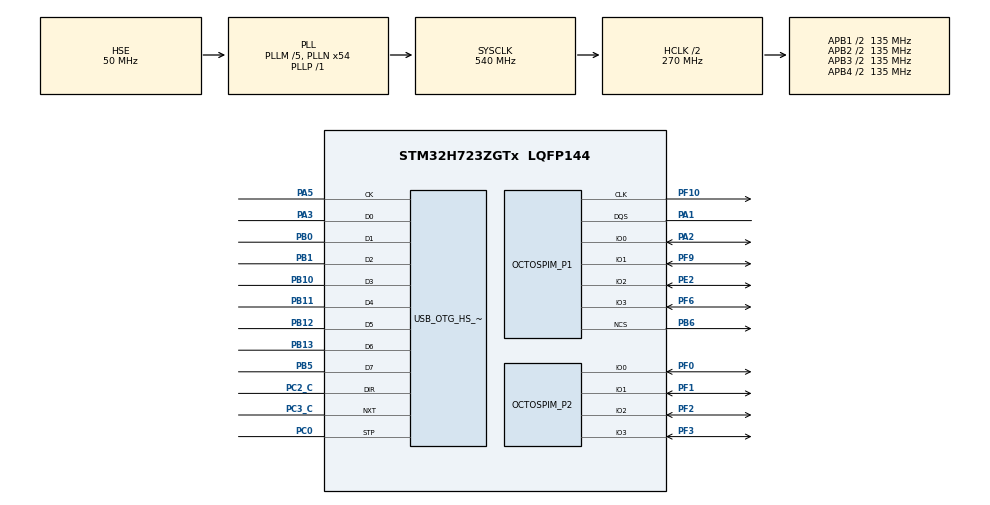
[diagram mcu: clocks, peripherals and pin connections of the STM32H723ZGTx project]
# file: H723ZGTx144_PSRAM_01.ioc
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CORTEX_M7.AccessPermission_S-Cortex_Memory_Protection_Unit_Region1_Settings_S=MPU_REGION_FULL_ACCESS
CORTEX_M7.AccessPermission_S-Cortex_Memory_Protection_Unit_Region2_Settings_S=MPU_REGION_FULL_ACCESS
CORTEX_M7.AccessPermission_S-Cortex_Memory_Protection_Unit_Region3_Settings_S=MPU_REGION_FULL_ACCESS
CORTEX_M7.AccessPermission_S-Cortex_Memory_Protection_Unit_Region4_Settings_S=MPU_REGION_FULL_ACCESS
CORTEX_M7.AccessPermission_S-Cortex_Memory_Protection_Unit_Region5_Settings_S=MPU_REGION_FULL_ACCESS
CORTEX_M7.AccessPermission_Spec=MPU_REGION_FULL_ACCESS
CORTEX_M7.BaseAddress_S-Cortex_Memory_Protection_Unit_Region1_Settings_S=0x6000000
CORTEX_M7.BaseAddress_S-Cortex_Memory_Protection_Unit_Region2_Settings_S=0x30000000
CORTEX_M7.BaseAddress_S-Cortex_Memory_Protection_Unit_Region3_Settings_S=0x30004000
CORTEX_M7.BaseAddress_S-Cortex_Memory_Protection_Unit_Region4_Settings_S=0x90000000
CORTEX_M7.BaseAddress_S-Cortex_Memory_Protection_Unit_Region5_Settings_S=0x30000000
CORTEX_M7.BaseAddress_Spec=0x24000000
CORTEX_M7.CPU_DCache=Enabled
CORTEX_M7.CPU_ICache=Enabled
CORTEX_M7.DisableExec_Spec=MPU_INSTRUCTION_ACCESS_ENABLE
CORTEX_M7.Enable_S-Cortex_Memory_Protection_Unit_Region1_Settings_S=MPU_REGION_ENABLE
CORTEX_M7.Enable_S-Cortex_Memory_Protection_Unit_Region2_Settings_S=MPU_REGION_ENABLE
CORTEX_M7.Enable_S-Cortex_Memory_Protection_Unit_Region3_Settings_S=MPU_REGION_ENABLE
CORTEX_M7.Enable_S-Cortex_Memory_Protection_Unit_Region4_Settings_S=MPU_REGION_ENABLE
CORTEX_M7.Enable_S-Cortex_Memory_Protection_Unit_Region5_Settings_S=MPU_REGION_ENABLE
CORTEX_M7.IsBufferable_S-Cortex_Memory_Protection_Unit_Region1_Settings_S=MPU_ACCESS_BUFFERABLE
CORTEX_M7.IsBufferable_S-Cortex_Memory_Protection_Unit_Region2_Settings_S=MPU_ACCESS_NOT_BUFFERABLE
CORTEX_M7.IsBufferable_S-Cortex_Memory_Protection_Unit_Region4_Settings_S=MPU_ACCESS_BUFFERABLE
CORTEX_M7.IsBufferable_S-Cortex_Memory_Protection_Unit_Region5_Settings_S=MPU_ACCESS_NOT_BUFFERABLE
CORTEX_M7.IsBufferable_Spec=MPU_ACCESS_BUFFERABLE
CORTEX_M7.IsCacheable_S-Cortex_Memory_Protection_Unit_Region2_Settings_S=MPU_ACCESS_CACHEABLE
CORTEX_M7.IsCacheable_S-Cortex_Memory_Protection_Unit_Region3_Settings_S=MPU_ACCESS_CACHEABLE
CORTEX_M7.IsCacheable_S-Cortex_Memory_Protection_Unit_Region4_Settings_S=MPU_ACCESS_CACHEABLE
CORTEX_M7.IsCacheable_S-Cortex_Memory_Protection_Unit_Region5_Settings_S=MPU_ACCESS_NOT_CACHEABLE
CORTEX_M7.IsCacheable_Spec=MPU_ACCESS_NOT_CACHEABLE
CORTEX_M7.IsShareable_Spec=MPU_ACCESS_NOT_SHAREABLE
CORTEX_M7.Size_S-Cortex_Memory_Protection_Unit_Region1_Settings_S=MPU_REGION_SIZE_64KB
CORTEX_M7.Size_S-Cortex_Memory_Protection_Unit_Region2_Settings_S=MPU_REGION_SIZE_16KB
CORTEX_M7.Size_S-Cortex_Memory_Protection_Unit_Region3_Settings_S=MPU_REGION_SIZE_16KB
CORTEX_M7.Size_S-Cortex_Memory_Protection_Unit_Region4_Settings_S=MPU_REGION_SIZE_64MB
CORTEX_M7.Size_S-Cortex_Memory_Protection_Unit_Region5_Settings_S=MPU_REGION_SIZE_4KB
CORTEX_M7.Size_Spec=MPU_REGION_SIZE_512KB
CORTEX_M7.SubRegionDisable_S-Cortex_Memory_Protection_Unit_Region2_Settings_S=0x0
CORTEX_M7.SubRegionDisable_Spec=0
CORTEX_M7.TypeExtField_S-Cortex_Memory_Protection_Unit_Region4_Settings_S=MPU_TEX_LEVEL1
CORTEX_M7.TypeExtField_S-Cortex_Memory_Protection_Unit_Region5_Settings_S=MPU_TEX_LEVEL0
CORTEX_M7.TypeExtField_Spec=MPU_TEX_LEVEL1
CORTEX_M7.default_mode_Activation=1
FREERTOS.Tasks01=defaultTask,24,512,StartDefaultTask,Default,NULL,Dynamic,NULL,NULL
FREERTOS.configGENERATE_RUN_TIME_STATS=1
FREERTOS.configMAX_TASK_NAME_LEN=32
FREERTOS.configTOTAL_HEAP_SIZE=32768
FREERTOS.configUSE_NEWLIB_REENTRANT=1
FREERTOS.configUSE_STATS_FORMATTING_FUNCTIONS=1
FREERTOS.copyHeapFile=0
Mcu.Family=STM32H7
Mcu.Name=STM32H723ZGTx
Mcu.Package=LQFP144
NVIC.OTG_HS_IRQn=true\:5\:0\:true\:false\:true\:true\:true\:true\:true
NVIC.PriorityGroup=NVIC_PRIORITYGROUP_4
NVIC.TIM4_IRQn=true\:15\:0\:true\:false\:true\:false\:false\:true\:true
NVIC.TimeBase=TIM4_IRQn
NVIC.TimeBaseIP=TIM4
OCTOSPI1.ChipSelectBoundary=11
OCTOSPI1.ChipSelectHighTime=2
OCTOSPI1.DelayBlockBypass=HAL_OSPI_DELAY_BLOCK_USED
OCTOSPI1.DelayHoldQuarterCycle=HAL_OSPI_DHQC_ENABLE
OCTOSPI1.DeviceSize=26
OCTOSPI1.MemoryType=HAL_OSPI_MEMTYPE_APMEMORY
OCTOSPI1.Refresh=201
PA1.Mode=OCTOSPI1_Port1_DQS
PA1.Signal=OCTOSPIM_P1_DQS
PA13(JTMS/SWDIO).Mode=Serial_Wire
PA13(JTMS/SWDIO).Signal=DEBUG_JTMS-SWDIO
PA14(JTCK/SWCLK).Mode=Serial_Wire
PA14(JTCK/SWCLK).Signal=DEBUG_JTCK-SWCLK
PA2.Mode=OCTOSPI1_IOL_Port1L
PA2.Signal=OCTOSPIM_P1_IO0
PA3.Mode=Device_HS
PA3.Signal=USB_OTG_HS_ULPI_D0
PA5.Mode=Device_HS
PA5.Signal=USB_OTG_HS_ULPI_CK
PB0.Mode=Device_HS
PB0.Signal=USB_OTG_HS_ULPI_D1
PB1.Mode=Device_HS
PB1.Signal=USB_OTG_HS_ULPI_D2
PB10.Mode=Device_HS
PB10.Signal=USB_OTG_HS_ULPI_D3
PB11.Mode=Device_HS
PB11.Signal=USB_OTG_HS_ULPI_D4
PB12.Mode=Device_HS
PB12.Signal=USB_OTG_HS_ULPI_D5
PB13.Mode=Device_HS
PB13.Signal=USB_OTG_HS_ULPI_D6
PB5.Mode=Device_HS
PB5.Signal=USB_OTG_HS_ULPI_D7
PB6.Mode=OCTOSPI1_Port1_NCS
PB6.Signal=OCTOSPIM_P1_NCS
PC0.Mode=Device_HS
PC0.Signal=USB_OTG_HS_ULPI_STP
PC2_C.Mode=Device_HS
PC2_C.Signal=USB_OTG_HS_ULPI_DIR
PC3_C.Mode=Device_HS
PC3_C.Signal=USB_OTG_HS_ULPI_NXT
PE2.Mode=OCTOSPI1_IOL_Port1L
PE2.Signal=OCTOSPIM_P1_IO2
PF0.Mode=OCTOSPI1_IOH_Port2L
PF0.Signal=OCTOSPIM_P2_IO0
PF1.Mode=OCTOSPI1_IOH_Port2L
PF1.Signal=OCTOSPIM_P2_IO1
PF10.Mode=O1_P1_CLK
PF10.Signal=OCTOSPIM_P1_CLK
PF2.Mode=OCTOSPI1_IOH_Port2L
PF2.Signal=OCTOSPIM_P2_IO2
PF3.Mode=OCTOSPI1_IOH_Port2L
PF3.Signal=OCTOSPIM_P2_IO3
PF6.Mode=OCTOSPI1_IOL_Port1L
PF6.Signal=OCTOSPIM_P1_IO3
PF9.Mode=OCTOSPI1_IOL_Port1L
PF9.Signal=OCTOSPIM_P1_IO1
PH0-OSC_IN.Mode=HSE-External-Clock-Source
PH0-OSC_IN.Signal=RCC_OSC_IN
ProjectManager.HeapSize=0x1000
ProjectManager.StackSize=0x2000
ProjectManager.TargetToolchain=STM32CubeIDE
RCC.ADCFreq_Value=200000000
RCC.APB1Freq_Value=135000000
RCC.APB2Freq_Value=135000000
RCC.APB3Freq_Value=135000000
RCC.APB4Freq_Value=135000000
RCC.CortexFreq_Value=540000000
RCC.D1PPRE=RCC_APB3_DIV2
RCC.D2PPRE1=RCC_APB1_DIV2
RCC.D2PPRE2=RCC_APB2_DIV2
RCC.D3PPRE=RCC_APB4_DIV2
RCC.DIVM1=5
RCC.DIVM2=5
RCC.DIVM3=25
RCC.DIVN1=54
RCC.DIVN2=40
RCC.DIVN3=96
RCC.DIVP1=1
RCC.DIVQ1=6
RCC.DIVQ3=4
RCC.HCLKFreq_Value=270000000
RCC.HPRE=RCC_HCLK_DIV2
RCC.HSE_VALUE=50000000
RCC.PLLSourceVirtual=RCC_PLLSOURCE_HSE
RCC.QSPICLockSelection=RCC_OSPICLKSOURCE_PLL2
RCC.RCC_TIM_PRescaler_Selection=RCC_TIMPRES_DESACTIVATED
RCC.SYSCLKFreq_VALUE=540000000
RCC.SYSCLKSource=RCC_SYSCLKSOURCE_PLLCLK
RCC.USBCLockSelection=RCC_USBCLKSOURCE_PLL3
RCC.USBFreq_Value=48000000
TIM7.AutoReloadPreload=TIM_AUTORELOAD_PRELOAD_ENABLE
TIM7.Period=50000-1
TIM7.Prescaler=135-1
USB_DEVICE.CLASS_NAME_HS=CDC
USB_DEVICE.VirtualMode=Cdc
USB_DEVICE.VirtualModeHS=Cdc_HS
USB_OTG_HS.VirtualMode-Device_HS=Device_HS
USB_OTG_HS.dma_enable-Device_HS=ENABLE
VP_FREERTOS_VS_CMSIS_V2.Mode=CMSIS_V2
VP_MEMORYMAP_VS_MEMORYMAP.Mode=CurAppReg
VP_OCTOSPI1_VS_octo.Mode=octo_mode
VP_SYS_VS_tim4.Mode=TIM4
VP_TIM3_VS_ClockSourceINT.Mode=Internal
VP_TIM7_VS_ClockSourceINT.Mode=Enable_Timer
VP_USB_DEVICE_VS_USB_DEVICE_CDC_HS.Mode=CDC_HS
board=custom

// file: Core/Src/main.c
/* USER CODE BEGIN Header */
/**
  ******************************************************************************
  * @file           : main.c
  * @brief          : Main program body
  ******************************************************************************
  * @attention
  *
  * Copyright (c) 2025 STMicroelectronics.
  * All rights reserved.
  *
  * This software is licensed under terms that can be found in the LICENSE file
  * in the root directory of this software component.
  * If no LICENSE file comes with this software, it is provided AS-IS.
  *
  ******************************************************************************
  */
/* USER CODE END Header */
#include "main.h"
#include "cmsis_os.h"
#include "octospi.h"
#include "tim.h"
#include "usb_device.h"
#include "gpio.h"

/* USER CODE BEGIN Includes */
#include "usbd_cdc_if.h"
/* USER CODE END Includes */

void SystemClock_Config(void);
static void MPU_Config(void);
void MX_FREERTOS_Init(void);

int main(void)
{

  /* MPU Configuration--------------------------------------------------------*/
  MPU_Config();

  /* Enable the CPU Cache */

  /* Enable I-Cache---------------------------------------------------------*/
  SCB_EnableICache();

  /* Enable D-Cache---------------------------------------------------------*/
  SCB_EnableDCache();

  /* MCU Configuration--------------------------------------------------------*/

  /* Reset of all peripherals, Initializes the Flash interface and the Systick. */
  HAL_Init();

  /* Configure the system clock */
  SystemClock_Config();

  /* Initialize all configured peripherals */
  MX_GPIO_Init();
  MX_TIM3_Init();
  MX_TIM7_Init();
  MX_OCTOSPI1_Init();

  /* Init scheduler */
  osKernelInitialize();  /* Call init function for freertos objects (in cmsis_os2.c) */
  MX_FREERTOS_Init();

  /* Start scheduler */
  osKernelStart();

  /* We should never get here as control is now taken by the scheduler */

  /* Infinite loop */
  while (1)
  {

  }
}

void SystemClock_Config(void)
{
  RCC_OscInitTypeDef RCC_OscInitStruct = {0};
  RCC_ClkInitTypeDef RCC_ClkInitStruct = {0};

  /** Supply configuration update enable
  */
  HAL_PWREx_ConfigSupply(PWR_LDO_SUPPLY);

  /** Configure the main internal regulator output voltage
  */
  __HAL_PWR_VOLTAGESCALING_CONFIG(PWR_REGULATOR_VOLTAGE_SCALE0);

  while(!__HAL_PWR_GET_FLAG(PWR_FLAG_VOSRDY)) {}

  /** Initializes the RCC Oscillators according to the specified parameters
  * in the RCC_OscInitTypeDef structure.
  */
  RCC_OscInitStruct.OscillatorType = RCC_OSCILLATORTYPE_HSE;
  RCC_OscInitStruct.HSEState = RCC_HSE_BYPASS;
  RCC_OscInitStruct.PLL.PLLState = RCC_PLL_ON;
  RCC_OscInitStruct.PLL.PLLSource = RCC_PLLSOURCE_HSE;
  RCC_OscInitStruct.PLL.PLLM = 5;
  RCC_OscInitStruct.PLL.PLLN = 54;
  RCC_OscInitStruct.PLL.PLLP = 1;
  RCC_OscInitStruct.PLL.PLLQ = 6;
  RCC_OscInitStruct.PLL.PLLR = 2;
  RCC_OscInitStruct.PLL.PLLRGE = RCC_PLL1VCIRANGE_3;
  RCC_OscInitStruct.PLL.PLLVCOSEL = RCC_PLL1VCOWIDE;
  RCC_OscInitStruct.PLL.PLLFRACN = 0;
  if (HAL_RCC_OscConfig(&RCC_OscInitStruct) != HAL_OK)
  {
    Error_Handler();
  }

  /** Initializes the CPU, AHB and APB buses clocks
  */
  RCC_ClkInitStruct.ClockType = RCC_CLOCKTYPE_HCLK|RCC_CLOCKTYPE_SYSCLK
                              |RCC_CLOCKTYPE_PCLK1|RCC_CLOCKTYPE_PCLK2
                              |RCC_CLOCKTYPE_D3PCLK1|RCC_CLOCKTYPE_D1PCLK1;
  RCC_ClkInitStruct.SYSCLKSource = RCC_SYSCLKSOURCE_PLLCLK;
  RCC_ClkInitStruct.SYSCLKDivider = RCC_SYSCLK_DIV1;
  RCC_ClkInitStruct.AHBCLKDivider = RCC_HCLK_DIV2;
  RCC_ClkInitStruct.APB3CLKDivider = RCC_APB3_DIV2;
  RCC_ClkInitStruct.APB1CLKDivider = RCC_APB1_DIV2;
  RCC_ClkInitStruct.APB2CLKDivider = RCC_APB2_DIV2;
  RCC_ClkInitStruct.APB4CLKDivider = RCC_APB4_DIV2;

  if (HAL_RCC_ClockConfig(&RCC_ClkInitStruct, FLASH_LATENCY_3) != HAL_OK)
  {
    Error_Handler();
  }
}

 /* MPU Configuration */

void MPU_Config(void)
{
  MPU_Region_InitTypeDef MPU_InitStruct = {0};

  /* Disables the MPU */
  HAL_MPU_Disable();

  /** Initializes and configures the Region and the memory to be protected
  */
  MPU_InitStruct.Enable = MPU_REGION_ENABLE;
  MPU_InitStruct.Number = MPU_REGION_NUMBER0;
  MPU_InitStruct.BaseAddress = 0x24000000;
  MPU_InitStruct.Size = MPU_REGION_SIZE_512KB;
  MPU_InitStruct.SubRegionDisable = 0;
  MPU_InitStruct.TypeExtField = MPU_TEX_LEVEL1;
  MPU_InitStruct.AccessPermission = MPU_REGION_FULL_ACCESS;
  MPU_InitStruct.DisableExec = MPU_INSTRUCTION_ACCESS_ENABLE;
  MPU_InitStruct.IsShareable = MPU_ACCESS_NOT_SHAREABLE;
  MPU_InitStruct.IsCacheable = MPU_ACCESS_NOT_CACHEABLE;
  MPU_InitStruct.IsBufferable = MPU_ACCESS_BUFFERABLE;

  HAL_MPU_ConfigRegion(&MPU_InitStruct);

  /** Initializes and configures the Region and the memory to be protected
  */
  MPU_InitStruct.Number = MPU_REGION_NUMBER1;
  MPU_InitStruct.BaseAddress = 0x6000000;
  MPU_InitStruct.Size = MPU_REGION_SIZE_64KB;
  MPU_InitStruct.SubRegionDisable = 0x0;
  MPU_InitStruct.TypeExtField = MPU_TEX_LEVEL0;

  HAL_MPU_ConfigRegion(&MPU_InitStruct);

  /** Initializes and configures the Region and the memory to be protected
  */
  MPU_InitStruct.Number = MPU_REGION_NUMBER2;
  MPU_InitStruct.BaseAddress = 0x30000000;
  MPU_InitStruct.Size = MPU_REGION_SIZE_16KB;
  MPU_InitStruct.IsCacheable = MPU_ACCESS_CACHEABLE;
  MPU_InitStruct.IsBufferable = MPU_ACCESS_NOT_BUFFERABLE;

  HAL_MPU_ConfigRegion(&MPU_InitStruct);

  /** Initializes and configures the Region and the memory to be protected
  */
  MPU_InitStruct.Number = MPU_REGION_NUMBER3;
  MPU_InitStruct.BaseAddress = 0x30004000;

  HAL_MPU_ConfigRegion(&MPU_InitStruct);

  /** Initializes and configures the Region and the memory to be protected
  */
  MPU_InitStruct.Number = MPU_REGION_NUMBER4;
  MPU_InitStruct.BaseAddress = 0x90000000;
  MPU_InitStruct.Size = MPU_REGION_SIZE_64MB;
  MPU_InitStruct.TypeExtField = MPU_TEX_LEVEL1;
  MPU_InitStruct.IsBufferable = MPU_ACCESS_BUFFERABLE;

  HAL_MPU_ConfigRegion(&MPU_InitStruct);

  /** Initializes and configures the Region and the memory to be protected
  */
  MPU_InitStruct.Number = MPU_REGION_NUMBER5;
  MPU_InitStruct.BaseAddress = 0x30000000;
  MPU_InitStruct.Size = MPU_REGION_SIZE_4KB;
  MPU_InitStruct.TypeExtField = MPU_TEX_LEVEL0;
  MPU_InitStruct.IsCacheable = MPU_ACCESS_NOT_CACHEABLE;
  MPU_InitStruct.IsBufferable = MPU_ACCESS_NOT_BUFFERABLE;

  HAL_MPU_ConfigRegion(&MPU_InitStruct);
  /* Enables the MPU */
  HAL_MPU_Enable(MPU_PRIVILEGED_DEFAULT);

}

void HAL_TIM_PeriodElapsedCallback(TIM_HandleTypeDef *htim)
{
  if (htim->Instance == TIM4)
  {
    HAL_IncTick();
  }
}

void Error_Handler(void)
{
  __disable_irq();
  while (1)
  {
  }
}

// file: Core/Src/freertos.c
/* USER CODE BEGIN Header */
/**
  ******************************************************************************
  * File Name          : freertos.c
  * Description        : Code for freertos applications
  ******************************************************************************
  * @attention
  *
  * Copyright (c) 2025 STMicroelectronics.
  * All rights reserved.
  *
  * This software is licensed under terms that can be found in the LICENSE file
  * in the root directory of this software component.
  * If no LICENSE file comes with this software, it is provided AS-IS.
  *
  ******************************************************************************
  */
/* USER CODE END Header */

#include "FreeRTOS.h"
#include "task.h"
#include "main.h"
#include "cmsis_os.h"

/* USER CODE BEGIN Includes */
#include "common_inc.h"
#include "communication.hpp"
#include "usbd_cdc_if.h"
/* USER CODE END Includes */

/* USER CODE BEGIN Variables */
osSemaphoreId sem_usb_irq;
osSemaphoreId sem_usb_rx;
osSemaphoreId sem_usb_tx;
const uint32_t UsbIrqTaskStackSize = 128 * 4;

/* USER CODE END Variables */
/* Definitions for defaultTask */
osThreadId_t defaultTaskHandle;
const osThreadAttr_t defaultTask_attributes = {
  .name = "defaultTask",
  .stack_size = 512 * 4,
  .priority = (osPriority_t) osPriorityNormal,
};

void StartDefaultTask(void *argument);

extern void MX_USB_DEVICE_Init(void);
void MX_FREERTOS_Init(void); /* (MISRA C 2004 rule 8.1) */

/* Hook prototypes */
void configureTimerForRunTimeStats(void);
unsigned long getRunTimeCounterValue(void);

/* USER CODE BEGIN 1 */
/* Functions needed when configGENERATE_RUN_TIME_STATS is on */
__weak void configureTimerForRunTimeStats(void)
{

}

__weak unsigned long getRunTimeCounterValue(void)
{
return 0;
}
/* USER CODE END 1 */

void MX_FREERTOS_Init(void) {

  /* USER CODE BEGIN RTOS_SEMAPHORES */
  /* add semaphores, ... */
    // Init usb irq binary semaphore, and start with no tokens by removing the starting one.
    osSemaphoreDef(sem_usb_irq);
    sem_usb_irq = osSemaphoreNew(1, 0, osSemaphore(sem_usb_irq));

    // Create a semaphore for USB RX, and start with no tokens by removing the starting one.
    osSemaphoreDef(sem_usb_rx);
    sem_usb_rx = osSemaphoreNew(1, 0, osSemaphore(sem_usb_rx));

    // Create a semaphore for USB TX
    osSemaphoreDef(sem_usb_tx);
    sem_usb_tx = osSemaphoreNew(1, 1, osSemaphore(sem_usb_tx));
  /* USER CODE END RTOS_SEMAPHORES */

  /* USER CODE BEGIN RTOS_QUEUES */
  /* add queues, ... */
    // This Task must run before MX_USB_DEVICE_Init(), so have to put it here.
    const osThreadAttr_t usbIrqTask_attributes = {
        .name = "usbIrqTask",
        .stack_size = UsbIrqTaskStackSize,
        .priority = (osPriority_t) osPriorityAboveNormal,
    };
    usbIrqTaskHandle = osThreadNew(UsbDeferredInterruptTask, NULL, &usbIrqTask_attributes);
  /* USER CODE END RTOS_QUEUES */

  /* Create the thread(s) */
  /* creation of defaultTask */
  defaultTaskHandle = osThreadNew(StartDefaultTask, NULL, &defaultTask_attributes);

}

void StartDefaultTask(void *argument)
{
  /* init code for USB_DEVICE */
  MX_USB_DEVICE_Init();
  /* USER CODE BEGIN StartDefaultTask */
  /* Infinite loop */
  Main();
  vTaskDelete(defaultTaskHandle);
  /* USER CODE END StartDefaultTask */
}
